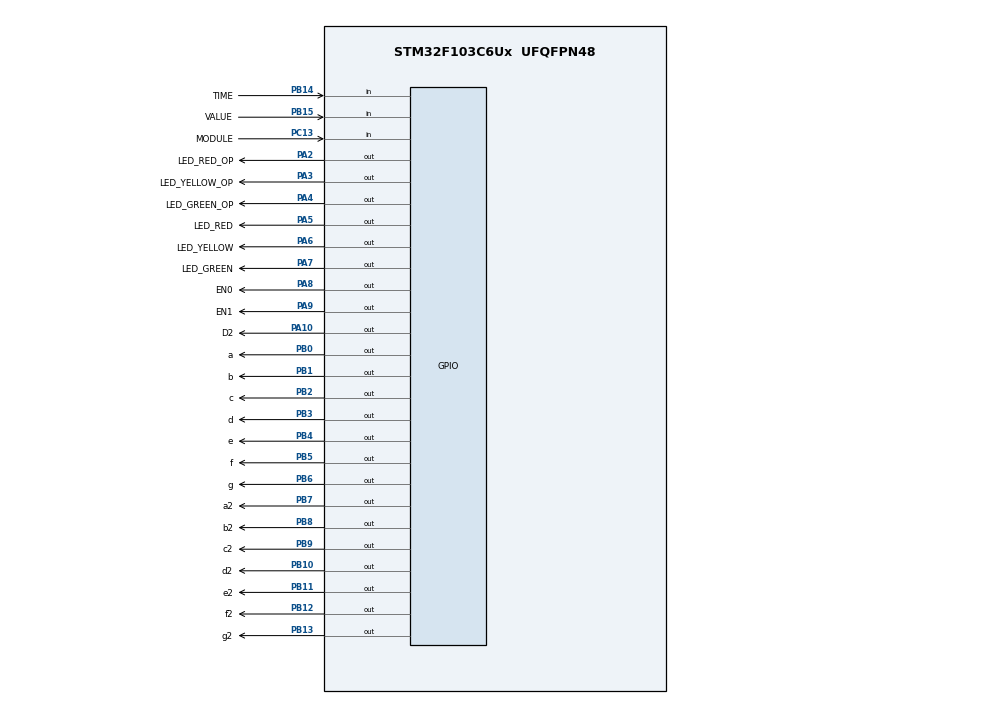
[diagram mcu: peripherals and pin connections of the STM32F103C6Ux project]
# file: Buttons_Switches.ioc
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Mcu.Family=STM32F1
Mcu.Name=STM32F103C6Ux
Mcu.Package=UFQFPN48
NVIC.PriorityGroup=NVIC_PRIORITYGROUP_4
NVIC.TIM2_IRQn=true\:0\:0\:false\:false\:true\:true\:true
PA10.GPIO_Label=D2
PA10.Signal=GPIO_Output
PA2.GPIO_Label=LED_RED_OP
PA2.Signal=GPIO_Output
PA3.GPIO_Label=LED_YELLOW_OP
PA3.Signal=GPIO_Output
PA4.GPIO_Label=LED_GREEN_OP
PA4.Signal=GPIO_Output
PA5.GPIO_Label=LED_RED
PA5.Signal=GPIO_Output
PA6.GPIO_Label=LED_YELLOW
PA6.Signal=GPIO_Output
PA7.GPIO_Label=LED_GREEN
PA7.Signal=GPIO_Output
PA8.GPIO_Label=EN0
PA8.Signal=GPIO_Output
PA9.GPIO_Label=EN1
PA9.Signal=GPIO_Output
PB0.GPIO_Label=a
PB0.Signal=GPIO_Output
PB1.GPIO_Label=b
PB1.Signal=GPIO_Output
PB10.GPIO_Label=d2
PB10.Signal=GPIO_Output
PB11.GPIO_Label=e2
PB11.Signal=GPIO_Output
PB12.GPIO_Label=f2
PB12.Signal=GPIO_Output
PB13.GPIO_Label=g2
PB13.Signal=GPIO_Output
PB14.GPIO_Label=TIME
PB14.GPIO_PuPd=GPIO_PULLUP
PB14.Signal=GPIO_Input
PB15.GPIO_Label=VALUE
PB15.GPIO_PuPd=GPIO_PULLUP
PB15.Signal=GPIO_Input
PB2.GPIO_Label=c
PB2.Signal=GPIO_Output
PB3.GPIO_Label=d
PB3.Signal=GPIO_Output
PB4.GPIO_Label=e
PB4.Signal=GPIO_Output
PB5.GPIO_Label=f
PB5.Signal=GPIO_Output
PB6.GPIO_Label=g
PB6.Signal=GPIO_Output
PB7.GPIO_Label=a2
PB7.Signal=GPIO_Output
PB8.GPIO_Label=b2
PB8.Signal=GPIO_Output
PB9.GPIO_Label=c2
PB9.Signal=GPIO_Output
PC13-TAMPER-RTC.GPIO_Label=MODULE
PC13-TAMPER-RTC.GPIO_PuPd=GPIO_PULLUP
PC13-TAMPER-RTC.Signal=GPIO_Input
ProjectManager.HeapSize=0x200
ProjectManager.StackSize=0x400
ProjectManager.TargetToolchain=STM32CubeIDE
RCC.APB1Freq_Value=8000000
RCC.APB2Freq_Value=8000000
TIM2.Period=9
TIM2.Prescaler=7999
VP_SYS_VS_ND.Mode=No_Debug
VP_TIM2_VS_ClockSourceINT.Mode=Internal
board=custom

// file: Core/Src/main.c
/* USER CODE BEGIN Header */
/**
  ******************************************************************************
  * @file           : main.c
  * @brief          : Main program body
  ******************************************************************************
  * @attention
  *
  * <h2><center>&copy; Copyright (c) 2024 STMicroelectronics.
  * All rights reserved.</center></h2>
  *
  * This software component is licensed by ST under BSD 3-Clause license,
  * the "License"; You may not use this file except in compliance with the
  * License. You may obtain a copy of the License at:
  *                        opensource.org/licenses/BSD-3-Clause
  *
  ******************************************************************************
  */
/* USER CODE END Header */
#include "main.h"

/* USER CODE BEGIN Includes */
#include "software_timer.h"
#include "button.h"
#include "fsm_traffic_light.h"
#include "display7SEG.h"
/* USER CODE END Includes */

TIM_HandleTypeDef htim2;

void SystemClock_Config(void);
static void MX_GPIO_Init(void);
static void MX_TIM2_Init(void);

int main(void)
{

  /* MCU Configuration--------------------------------------------------------*/

  /* Reset of all peripherals, Initializes the Flash interface and the Systick. */
  HAL_Init();

  /* Configure the system clock */
  SystemClock_Config();

  /* Initialize all configured peripherals */
  MX_GPIO_Init();
  MX_TIM2_Init();
  /* USER CODE BEGIN 2 */
  HAL_TIM_Base_Start_IT(&htim2);
  /* USER CODE END 2 */

  /* Infinite loop */
  /* USER CODE BEGIN WHILE */
  setTimer(1, 10);
  status = INIT;
  value = 10;
  value1 = 10;
  while (1)
  {
	  updateClockBuffer();
	  fsm_traffic_light_run();
	  if (isTimerExpired(1) == 1) {
		  setTimer(1, 100);
		  update7SEG(index_led);
		  ++index_led;
		  if (index_led > 1) {
			  index_led = 0;
		  }
	  }
    /* USER CODE END WHILE */

  }
}

void SystemClock_Config(void)
{
  RCC_OscInitTypeDef RCC_OscInitStruct = {0};
  RCC_ClkInitTypeDef RCC_ClkInitStruct = {0};

  /** Initializes the RCC Oscillators according to the specified parameters
  * in the RCC_OscInitTypeDef structure.
  */
  RCC_OscInitStruct.OscillatorType = RCC_OSCILLATORTYPE_HSI;
  RCC_OscInitStruct.HSIState = RCC_HSI_ON;
  RCC_OscInitStruct.HSICalibrationValue = RCC_HSICALIBRATION_DEFAULT;
  RCC_OscInitStruct.PLL.PLLState = RCC_PLL_NONE;
  if (HAL_RCC_OscConfig(&RCC_OscInitStruct) != HAL_OK)
  {
    Error_Handler();
  }
  /** Initializes the CPU, AHB and APB buses clocks
  */
  RCC_ClkInitStruct.ClockType = RCC_CLOCKTYPE_HCLK|RCC_CLOCKTYPE_SYSCLK
                              |RCC_CLOCKTYPE_PCLK1|RCC_CLOCKTYPE_PCLK2;
  RCC_ClkInitStruct.SYSCLKSource = RCC_SYSCLKSOURCE_HSI;
  RCC_ClkInitStruct.AHBCLKDivider = RCC_SYSCLK_DIV1;
  RCC_ClkInitStruct.APB1CLKDivider = RCC_HCLK_DIV1;
  RCC_ClkInitStruct.APB2CLKDivider = RCC_HCLK_DIV1;

  if (HAL_RCC_ClockConfig(&RCC_ClkInitStruct, FLASH_LATENCY_0) != HAL_OK)
  {
    Error_Handler();
  }
}

static void MX_TIM2_Init(void)
{

  TIM_ClockConfigTypeDef sClockSourceConfig = {0};
  TIM_MasterConfigTypeDef sMasterConfig = {0};

  htim2.Instance = TIM2;
  htim2.Init.Prescaler = 7999;
  htim2.Init.CounterMode = TIM_COUNTERMODE_UP;
  htim2.Init.Period = 9;
  htim2.Init.ClockDivision = TIM_CLOCKDIVISION_DIV1;
  htim2.Init.AutoReloadPreload = TIM_AUTORELOAD_PRELOAD_DISABLE;
  if (HAL_TIM_Base_Init(&htim2) != HAL_OK)
  {
    Error_Handler();
  }
  sClockSourceConfig.ClockSource = TIM_CLOCKSOURCE_INTERNAL;
  if (HAL_TIM_ConfigClockSource(&htim2, &sClockSourceConfig) != HAL_OK)
  {
    Error_Handler();
  }
  sMasterConfig.MasterOutputTrigger = TIM_TRGO_RESET;
  sMasterConfig.MasterSlaveMode = TIM_MASTERSLAVEMODE_DISABLE;
  if (HAL_TIMEx_MasterConfigSynchronization(&htim2, &sMasterConfig) != HAL_OK)
  {
    Error_Handler();
  }

}

static void MX_GPIO_Init(void)
{
  GPIO_InitTypeDef GPIO_InitStruct = {0};

  /* GPIO Ports Clock Enable */
  __HAL_RCC_GPIOC_CLK_ENABLE();
  __HAL_RCC_GPIOA_CLK_ENABLE();
  __HAL_RCC_GPIOB_CLK_ENABLE();

  /*Configure GPIO pin Output Level */
  HAL_GPIO_WritePin(GPIOA, LED_RED_OP_Pin|LED_YELLOW_OP_Pin|LED_GREEN_OP_Pin|LED_RED_Pin
                          |LED_YELLOW_Pin|LED_GREEN_Pin|EN0_Pin|EN1_Pin
                          |D2_Pin, GPIO_PIN_RESET);

  /*Configure GPIO pin Output Level */
  HAL_GPIO_WritePin(GPIOB, a_Pin|b_Pin|c_Pin|d2_Pin
                          |e2_Pin|f2_Pin|g2_Pin|d_Pin
                          |e_Pin|f_Pin|g_Pin|a2_Pin
                          |b2_Pin|c2_Pin, GPIO_PIN_RESET);

  /*Configure GPIO pin : MODULE_Pin */
  GPIO_InitStruct.Pin = MODULE_Pin;
  GPIO_InitStruct.Mode = GPIO_MODE_INPUT;
  GPIO_InitStruct.Pull = GPIO_PULLUP;
  HAL_GPIO_Init(MODULE_GPIO_Port, &GPIO_InitStruct);

  /*Configure GPIO pins : LED_RED_OP_Pin LED_YELLOW_OP_Pin LED_GREEN_OP_Pin LED_RED_Pin
                           LED_YELLOW_Pin LED_GREEN_Pin EN0_Pin EN1_Pin
                           D2_Pin */
  GPIO_InitStruct.Pin = LED_RED_OP_Pin|LED_YELLOW_OP_Pin|LED_GREEN_OP_Pin|LED_RED_Pin
                          |LED_YELLOW_Pin|LED_GREEN_Pin|EN0_Pin|EN1_Pin
                          |D2_Pin;
  GPIO_InitStruct.Mode = GPIO_MODE_OUTPUT_PP;
  GPIO_InitStruct.Pull = GPIO_NOPULL;
  GPIO_InitStruct.Speed = GPIO_SPEED_FREQ_LOW;
  HAL_GPIO_Init(GPIOA, &GPIO_InitStruct);

  /*Configure GPIO pins : a_Pin b_Pin c_Pin d2_Pin
                           e2_Pin f2_Pin g2_Pin d_Pin
                           e_Pin f_Pin g_Pin a2_Pin
                           b2_Pin c2_Pin */
  GPIO_InitStruct.Pin = a_Pin|b_Pin|c_Pin|d2_Pin
                          |e2_Pin|f2_Pin|g2_Pin|d_Pin
                          |e_Pin|f_Pin|g_Pin|a2_Pin
                          |b2_Pin|c2_Pin;
  GPIO_InitStruct.Mode = GPIO_MODE_OUTPUT_PP;
  GPIO_InitStruct.Pull = GPIO_NOPULL;
  GPIO_InitStruct.Speed = GPIO_SPEED_FREQ_LOW;
  HAL_GPIO_Init(GPIOB, &GPIO_InitStruct);

  /*Configure GPIO pins : TIME_Pin VALUE_Pin */
  GPIO_InitStruct.Pin = TIME_Pin|VALUE_Pin;
  GPIO_InitStruct.Mode = GPIO_MODE_INPUT;
  GPIO_InitStruct.Pull = GPIO_PULLUP;
  HAL_GPIO_Init(GPIOB, &GPIO_InitStruct);

}

/* USER CODE BEGIN 4 */
void HAL_TIM_PeriodElapsedCallback(TIM_HandleTypeDef *htim) {
	timerRun();
	getKeyInput();
}
/* USER CODE END 4 */

void Error_Handler(void)
{
  __disable_irq();
  while (1)
  {
  }
}

/************************ (C) COPYRIGHT STMicroelectronics *****END OF FILE****/
